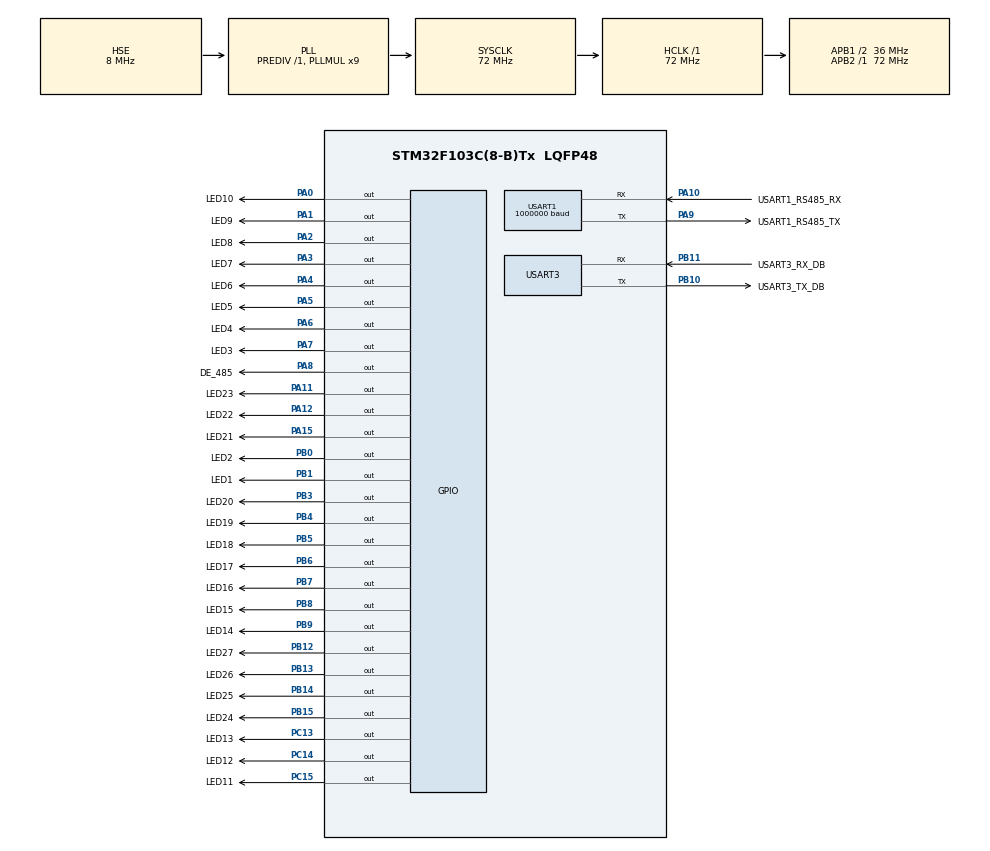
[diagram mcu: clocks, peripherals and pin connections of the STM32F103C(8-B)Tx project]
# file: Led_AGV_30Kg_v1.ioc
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Dma.Request0=USART1_RX
Dma.Request1=USART1_TX
Dma.USART1_RX.0.Direction=DMA_PERIPH_TO_MEMORY
Dma.USART1_RX.0.Instance=DMA1_Channel5
Dma.USART1_RX.0.MemDataAlignment=DMA_MDATAALIGN_BYTE
Dma.USART1_RX.0.MemInc=DMA_MINC_ENABLE
Dma.USART1_RX.0.Mode=DMA_NORMAL
Dma.USART1_RX.0.PeriphDataAlignment=DMA_PDATAALIGN_BYTE
Dma.USART1_RX.0.PeriphInc=DMA_PINC_DISABLE
Dma.USART1_RX.0.Priority=DMA_PRIORITY_LOW
Dma.USART1_TX.1.Direction=DMA_MEMORY_TO_PERIPH
Dma.USART1_TX.1.Instance=DMA1_Channel4
Dma.USART1_TX.1.MemDataAlignment=DMA_MDATAALIGN_BYTE
Dma.USART1_TX.1.MemInc=DMA_MINC_ENABLE
Dma.USART1_TX.1.Mode=DMA_NORMAL
Dma.USART1_TX.1.PeriphDataAlignment=DMA_PDATAALIGN_BYTE
Dma.USART1_TX.1.PeriphInc=DMA_PINC_DISABLE
Dma.USART1_TX.1.Priority=DMA_PRIORITY_LOW
Mcu.Family=STM32F1
Mcu.Name=STM32F103C(8-B)Tx
Mcu.Package=LQFP48
NVIC.DMA1_Channel4_IRQn=true\:0\:0\:false\:false\:true\:false\:true\:true
NVIC.DMA1_Channel5_IRQn=true\:0\:0\:false\:false\:true\:false\:true\:true
NVIC.PriorityGroup=NVIC_PRIORITYGROUP_4
NVIC.TIM1_UP_IRQn=true\:2\:0\:true\:false\:true\:true\:true\:true
NVIC.TIM2_IRQn=true\:1\:0\:true\:false\:true\:true\:true\:true
NVIC.USART1_IRQn=true\:0\:0\:false\:false\:true\:true\:true\:true
NVIC.USART3_IRQn=true\:0\:0\:false\:false\:true\:true\:true\:true
PA0-WKUP.GPIO_Label=LED10
PA0-WKUP.Signal=GPIO_Output
PA1.GPIO_Label=LED9
PA1.Signal=GPIO_Output
PA10.GPIO_Label=USART1_RS485_RX
PA10.Mode=Asynchronous
PA10.Signal=USART1_RX
PA11.GPIO_Label=LED23
PA11.Signal=GPIO_Output
PA12.GPIO_Label=LED22
PA12.Signal=GPIO_Output
PA13.Mode=Serial_Wire
PA13.Signal=SYS_JTMS-SWDIO
PA14.Mode=Serial_Wire
PA14.Signal=SYS_JTCK-SWCLK
PA15.GPIO_Label=LED21
PA15.Signal=GPIO_Output
PA2.GPIO_Label=LED8
PA2.Signal=GPIO_Output
PA3.GPIO_Label=LED7
PA3.Signal=GPIO_Output
PA4.GPIO_Label=LED6
PA4.Signal=GPIO_Output
PA5.GPIO_Label=LED5
PA5.Signal=GPIO_Output
PA6.GPIO_Label=LED4
PA6.Signal=GPIO_Output
PA7.GPIO_Label=LED3
PA7.Signal=GPIO_Output
PA8.GPIO_Label=DE_485
PA8.Signal=GPIO_Output
PA9.GPIO_Label=USART1_RS485_TX
PA9.Mode=Asynchronous
PA9.Signal=USART1_TX
PB0.GPIO_Label=LED2
PB0.Signal=GPIO_Output
PB1.GPIO_Label=LED1
PB1.Signal=GPIO_Output
PB10.GPIO_Label=USART3_TX_DB
PB10.Mode=Asynchronous
PB10.Signal=USART3_TX
PB11.GPIO_Label=USART3_RX_DB
PB11.Mode=Asynchronous
PB11.Signal=USART3_RX
PB12.GPIO_Label=LED27
PB12.Signal=GPIO_Output
PB13.GPIO_Label=LED26
PB13.Signal=GPIO_Output
PB14.GPIO_Label=LED25
PB14.Signal=GPIO_Output
PB15.GPIO_Label=LED24
PB15.Signal=GPIO_Output
PB3.GPIO_Label=LED20
PB3.Signal=GPIO_Output
PB4.GPIO_Label=LED19
PB4.Signal=GPIO_Output
PB5.GPIO_Label=LED18
PB5.Signal=GPIO_Output
PB6.GPIO_Label=LED17
PB6.Signal=GPIO_Output
PB7.GPIO_Label=LED16
PB7.Signal=GPIO_Output
PB8.GPIO_Label=LED15
PB8.Signal=GPIO_Output
PB9.GPIO_Label=LED14
PB9.Signal=GPIO_Output
PC13-TAMPER-RTC.GPIO_Label=LED13
PC13-TAMPER-RTC.Signal=GPIO_Output
PC14-OSC32_IN.GPIO_Label=LED12
PC14-OSC32_IN.Signal=GPIO_Output
PC15-OSC32_OUT.GPIO_Label=LED11
PC15-OSC32_OUT.Signal=GPIO_Output
PD0-OSC_IN.Mode=HSE-External-Oscillator
PD0-OSC_IN.Signal=RCC_OSC_IN
PD1-OSC_OUT.Mode=HSE-External-Oscillator
PD1-OSC_OUT.Signal=RCC_OSC_OUT
ProjectManager.HeapSize=0x200
ProjectManager.StackSize=0x400
ProjectManager.TargetToolchain=MDK-ARM V5.32
RCC.AHBFreq_Value=72000000
RCC.APB1CLKDivider=RCC_HCLK_DIV2
RCC.APB1Freq_Value=36000000
RCC.APB1TimFreq_Value=72000000
RCC.APB2Freq_Value=72000000
RCC.APB2TimFreq_Value=72000000
RCC.HCLKFreq_Value=72000000
RCC.PLLMUL=RCC_PLL_MUL9
RCC.PLLSourceVirtual=RCC_PLLSOURCE_HSE
RCC.SYSCLKFreq_VALUE=72000000
RCC.SYSCLKSource=RCC_SYSCLKSOURCE_PLLCLK
RCC.USBFreq_Value=72000000
TIM1.Prescaler=72-1
TIM2.Period=999
TIM2.Prescaler=72-1
USART1.BaudRate=1000000
USART1.VirtualMode=VM_ASYNC
USART3.VirtualMode=VM_ASYNC
VP_TIM1_VS_ClockSourceINT.Mode=Internal
VP_TIM2_VS_ClockSourceINT.Mode=Internal
board=custom

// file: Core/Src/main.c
/* USER CODE BEGIN Header */
/**
  ******************************************************************************
  * @file           : main.c
  * @brief          : Main program body
  ******************************************************************************
  * @attention
  *
  * Copyright (c) 2024 STMicroelectronics.
  * All rights reserved.
  *
  * This software is licensed under terms that can be found in the LICENSE file
  * in the root directory of this software component.
  * If no LICENSE file comes with this software, it is provided AS-IS.
  *
  ******************************************************************************
  */
/* USER CODE END Header */
#include "main.h"

/* USER CODE BEGIN Includes */
	#include "scan_led.h"
	#include "rs485.h"
	#include "uart.h"
/* USER CODE END Includes */

TIM_HandleTypeDef htim1;
TIM_HandleTypeDef htim2;

UART_HandleTypeDef huart1;
UART_HandleTypeDef huart3;
DMA_HandleTypeDef hdma_usart1_rx;
DMA_HandleTypeDef hdma_usart1_tx;

/* USER CODE BEGIN PV */
	uint32_t tick_whileTrue = 0;
/* USER CODE END PV */

void SystemClock_Config(void);
static void MX_GPIO_Init(void);
static void MX_DMA_Init(void);
static void MX_USART1_UART_Init(void);
static void MX_TIM1_Init(void);
static void MX_TIM2_Init(void);
static void MX_USART3_UART_Init(void);

/* USER CODE BEGIN 0 */

	/*_____________________________________________________________*/
		void HAL_UART_RxCpltCallback(UART_HandleTypeDef *huart)
		{
				if(huart->Instance == USART1)
				{
					RS485_Read(&vRS485);
				}
				if(huart->Instance == USART3)
				{
					UART_Read(&vUART3_JIG);
				}
			}

	/*_____________________________________________________________*/
		void HAL_TIM_PeriodElapsedCallback(TIM_HandleTypeDef *htim)
		{
			UNUSED(htim);
			if (htim->Instance == htim2.Instance) // every 1ms
			{
				HANDLE_MODE(&vFlag);
			}
		}

/* USER CODE END 0 */

int main(void)
{

  /* MCU Configuration--------------------------------------------------------*/

  /* Reset of all peripherals, Initializes the Flash interface and the Systick. */
  HAL_Init();

  /* Configure the system clock */
  SystemClock_Config();

  /* Initialize all configured peripherals */
  MX_GPIO_Init();
  MX_DMA_Init();
  MX_USART1_UART_Init();
  MX_TIM1_Init();
  MX_TIM2_Init();
  MX_USART3_UART_Init();
  /* USER CODE BEGIN 2 */

		Full_LED(off);
		FLAG_Init(&vFlag);
		RS485_Init(&vRS485, MACH_LED);
		UART_Init(&vUART3_JIG, &huart3);

		HAL_TIM_Base_Start_IT(&htim1);
		HAL_TIM_Base_Start_IT(&htim2);

	//HAL_GPIO_WritePin(DE_485_GPIO_Port, DE_485_Pin, GPIO_PIN_SET);

  /* USER CODE END 2 */

  /* Infinite loop */
  while (1)
  {

    /* USER CODE BEGIN 3 */

		if(++tick_whileTrue >= 1000000)
			tick_whileTrue = 0;

		Handle_Data_RS485_Rx(&vRS485, &vFlag);

		RS485_SendData(&vRS485, USART1, 1000);

		Handle_CMD_From_Jig(&vUART3_JIG);

//		HAL_UART_Transmit(&huart1, (uint8_t*)"Hello", 5, HAL_MAX_DELAY);
//		HAL_Delay(1000);
  }
  /* USER CODE END 3 */
}

void SystemClock_Config(void)
{
  RCC_OscInitTypeDef RCC_OscInitStruct = {0};
  RCC_ClkInitTypeDef RCC_ClkInitStruct = {0};

  /** Initializes the RCC Oscillators according to the specified parameters
  * in the RCC_OscInitTypeDef structure.
  */
  RCC_OscInitStruct.OscillatorType = RCC_OSCILLATORTYPE_HSE;
  RCC_OscInitStruct.HSEState = RCC_HSE_ON;
  RCC_OscInitStruct.HSEPredivValue = RCC_HSE_PREDIV_DIV1;
  RCC_OscInitStruct.HSIState = RCC_HSI_ON;
  RCC_OscInitStruct.PLL.PLLState = RCC_PLL_ON;
  RCC_OscInitStruct.PLL.PLLSource = RCC_PLLSOURCE_HSE;
  RCC_OscInitStruct.PLL.PLLMUL = RCC_PLL_MUL9;
  if (HAL_RCC_OscConfig(&RCC_OscInitStruct) != HAL_OK)
  {
    Error_Handler();
  }

  /** Initializes the CPU, AHB and APB buses clocks
  */
  RCC_ClkInitStruct.ClockType = RCC_CLOCKTYPE_HCLK|RCC_CLOCKTYPE_SYSCLK
                              |RCC_CLOCKTYPE_PCLK1|RCC_CLOCKTYPE_PCLK2;
  RCC_ClkInitStruct.SYSCLKSource = RCC_SYSCLKSOURCE_PLLCLK;
  RCC_ClkInitStruct.AHBCLKDivider = RCC_SYSCLK_DIV1;
  RCC_ClkInitStruct.APB1CLKDivider = RCC_HCLK_DIV2;
  RCC_ClkInitStruct.APB2CLKDivider = RCC_HCLK_DIV1;

  if (HAL_RCC_ClockConfig(&RCC_ClkInitStruct, FLASH_LATENCY_2) != HAL_OK)
  {
    Error_Handler();
  }
}

static void MX_TIM1_Init(void)
{

  TIM_ClockConfigTypeDef sClockSourceConfig = {0};
  TIM_MasterConfigTypeDef sMasterConfig = {0};

  htim1.Instance = TIM1;
  htim1.Init.Prescaler = 72-1;
  htim1.Init.CounterMode = TIM_COUNTERMODE_UP;
  htim1.Init.Period = 65535;
  htim1.Init.ClockDivision = TIM_CLOCKDIVISION_DIV1;
  htim1.Init.RepetitionCounter = 0;
  htim1.Init.AutoReloadPreload = TIM_AUTORELOAD_PRELOAD_DISABLE;
  if (HAL_TIM_Base_Init(&htim1) != HAL_OK)
  {
    Error_Handler();
  }
  sClockSourceConfig.ClockSource = TIM_CLOCKSOURCE_INTERNAL;
  if (HAL_TIM_ConfigClockSource(&htim1, &sClockSourceConfig) != HAL_OK)
  {
    Error_Handler();
  }
  sMasterConfig.MasterOutputTrigger = TIM_TRGO_RESET;
  sMasterConfig.MasterSlaveMode = TIM_MASTERSLAVEMODE_DISABLE;
  if (HAL_TIMEx_MasterConfigSynchronization(&htim1, &sMasterConfig) != HAL_OK)
  {
    Error_Handler();
  }

}

static void MX_TIM2_Init(void)
{

  TIM_ClockConfigTypeDef sClockSourceConfig = {0};
  TIM_MasterConfigTypeDef sMasterConfig = {0};

  htim2.Instance = TIM2;
  htim2.Init.Prescaler = 72-1;
  htim2.Init.CounterMode = TIM_COUNTERMODE_UP;
  htim2.Init.Period = 999;
  htim2.Init.ClockDivision = TIM_CLOCKDIVISION_DIV1;
  htim2.Init.AutoReloadPreload = TIM_AUTORELOAD_PRELOAD_DISABLE;
  if (HAL_TIM_Base_Init(&htim2) != HAL_OK)
  {
    Error_Handler();
  }
  sClockSourceConfig.ClockSource = TIM_CLOCKSOURCE_INTERNAL;
  if (HAL_TIM_ConfigClockSource(&htim2, &sClockSourceConfig) != HAL_OK)
  {
    Error_Handler();
  }
  sMasterConfig.MasterOutputTrigger = TIM_TRGO_RESET;
  sMasterConfig.MasterSlaveMode = TIM_MASTERSLAVEMODE_DISABLE;
  if (HAL_TIMEx_MasterConfigSynchronization(&htim2, &sMasterConfig) != HAL_OK)
  {
    Error_Handler();
  }

}

static void MX_USART1_UART_Init(void)
{

  huart1.Instance = USART1;
  huart1.Init.BaudRate = 1000000;
  huart1.Init.WordLength = UART_WORDLENGTH_8B;
  huart1.Init.StopBits = UART_STOPBITS_1;
  huart1.Init.Parity = UART_PARITY_NONE;
  huart1.Init.Mode = UART_MODE_TX_RX;
  huart1.Init.HwFlowCtl = UART_HWCONTROL_NONE;
  huart1.Init.OverSampling = UART_OVERSAMPLING_16;
  if (HAL_UART_Init(&huart1) != HAL_OK)
  {
    Error_Handler();
  }

}

static void MX_USART3_UART_Init(void)
{

  huart3.Instance = USART3;
  huart3.Init.BaudRate = 115200;
  huart3.Init.WordLength = UART_WORDLENGTH_8B;
  huart3.Init.StopBits = UART_STOPBITS_1;
  huart3.Init.Parity = UART_PARITY_NONE;
  huart3.Init.Mode = UART_MODE_TX_RX;
  huart3.Init.HwFlowCtl = UART_HWCONTROL_NONE;
  huart3.Init.OverSampling = UART_OVERSAMPLING_16;
  if (HAL_UART_Init(&huart3) != HAL_OK)
  {
    Error_Handler();
  }

}

static void MX_DMA_Init(void)
{

  /* DMA controller clock enable */
  __HAL_RCC_DMA1_CLK_ENABLE();

  /* DMA interrupt init */
  /* DMA1_Channel4_IRQn interrupt configuration */
  HAL_NVIC_SetPriority(DMA1_Channel4_IRQn, 0, 0);
  HAL_NVIC_EnableIRQ(DMA1_Channel4_IRQn);
  /* DMA1_Channel5_IRQn interrupt configuration */
  HAL_NVIC_SetPriority(DMA1_Channel5_IRQn, 0, 0);
  HAL_NVIC_EnableIRQ(DMA1_Channel5_IRQn);

}

static void MX_GPIO_Init(void)
{
  GPIO_InitTypeDef GPIO_InitStruct = {0};

  /* GPIO Ports Clock Enable */
  __HAL_RCC_GPIOC_CLK_ENABLE();
  __HAL_RCC_GPIOD_CLK_ENABLE();
  __HAL_RCC_GPIOA_CLK_ENABLE();
  __HAL_RCC_GPIOB_CLK_ENABLE();

  /*Configure GPIO pin Output Level */
  HAL_GPIO_WritePin(GPIOC, LED13_Pin|LED12_Pin|LED11_Pin, GPIO_PIN_RESET);

  /*Configure GPIO pin Output Level */
  HAL_GPIO_WritePin(GPIOA, LED10_Pin|LED9_Pin|LED8_Pin|LED7_Pin
                          |LED6_Pin|LED5_Pin|LED4_Pin|LED3_Pin
                          |DE_485_Pin|LED23_Pin|LED22_Pin|LED21_Pin, GPIO_PIN_RESET);

  /*Configure GPIO pin Output Level */
  HAL_GPIO_WritePin(GPIOB, LED2_Pin|LED1_Pin|LED27_Pin|LED26_Pin
                          |LED25_Pin|LED24_Pin|LED20_Pin|LED19_Pin
                          |LED18_Pin|LED17_Pin|LED16_Pin|LED15_Pin
                          |LED14_Pin, GPIO_PIN_RESET);

  /*Configure GPIO pins : LED13_Pin LED12_Pin LED11_Pin */
  GPIO_InitStruct.Pin = LED13_Pin|LED12_Pin|LED11_Pin;
  GPIO_InitStruct.Mode = GPIO_MODE_OUTPUT_PP;
  GPIO_InitStruct.Pull = GPIO_NOPULL;
  GPIO_InitStruct.Speed = GPIO_SPEED_FREQ_LOW;
  HAL_GPIO_Init(GPIOC, &GPIO_InitStruct);

  /*Configure GPIO pins : LED10_Pin LED9_Pin LED8_Pin LED7_Pin
                           LED6_Pin LED5_Pin LED4_Pin LED3_Pin
                           DE_485_Pin LED23_Pin LED22_Pin LED21_Pin */
  GPIO_InitStruct.Pin = LED10_Pin|LED9_Pin|LED8_Pin|LED7_Pin
                          |LED6_Pin|LED5_Pin|LED4_Pin|LED3_Pin
                          |DE_485_Pin|LED23_Pin|LED22_Pin|LED21_Pin;
  GPIO_InitStruct.Mode = GPIO_MODE_OUTPUT_PP;
  GPIO_InitStruct.Pull = GPIO_NOPULL;
  GPIO_InitStruct.Speed = GPIO_SPEED_FREQ_LOW;
  HAL_GPIO_Init(GPIOA, &GPIO_InitStruct);

  /*Configure GPIO pins : LED2_Pin LED1_Pin LED27_Pin LED26_Pin
                           LED25_Pin LED24_Pin LED20_Pin LED19_Pin
                           LED18_Pin LED17_Pin LED16_Pin LED15_Pin
                           LED14_Pin */
  GPIO_InitStruct.Pin = LED2_Pin|LED1_Pin|LED27_Pin|LED26_Pin
                          |LED25_Pin|LED24_Pin|LED20_Pin|LED19_Pin
                          |LED18_Pin|LED17_Pin|LED16_Pin|LED15_Pin
                          |LED14_Pin;
  GPIO_InitStruct.Mode = GPIO_MODE_OUTPUT_PP;
  GPIO_InitStruct.Pull = GPIO_NOPULL;
  GPIO_InitStruct.Speed = GPIO_SPEED_FREQ_LOW;
  HAL_GPIO_Init(GPIOB, &GPIO_InitStruct);

}

void Error_Handler(void)
{
  __disable_irq();
  while (1)
  {
  }
}
